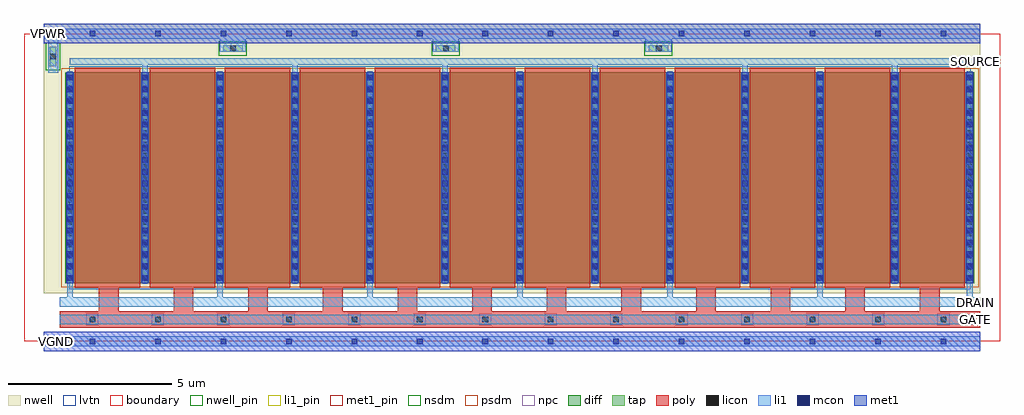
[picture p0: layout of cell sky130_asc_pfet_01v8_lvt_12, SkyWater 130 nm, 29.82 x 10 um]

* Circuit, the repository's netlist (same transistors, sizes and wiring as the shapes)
* NGSPICE file created from sky130_asc_pfet_01v8_lvt_12.ext - technology: sky130A

.subckt sky130_asc_pfet_01v8_lvt_12 GATE SOURCE DRAIN VGND VPWR
X0 SOURCE GATE DRAIN VPWR sky130_fd_pr__pfet_01v8_lvt ad=1.1223e+13p pd=8.088e+07u as=1.30935e+13p ps=9.436e+07u w=6.45e+06u l=2e+06u
X1 SOURCE GATE DRAIN VPWR sky130_fd_pr__pfet_01v8_lvt ad=0p pd=0u as=0p ps=0u w=6.45e+06u l=2e+06u
X2 DRAIN GATE SOURCE VPWR sky130_fd_pr__pfet_01v8_lvt ad=0p pd=0u as=0p ps=0u w=6.45e+06u l=2e+06u
X3 DRAIN GATE SOURCE VPWR sky130_fd_pr__pfet_01v8_lvt ad=0p pd=0u as=0p ps=0u w=6.45e+06u l=2e+06u
X4 SOURCE GATE DRAIN VPWR sky130_fd_pr__pfet_01v8_lvt ad=0p pd=0u as=0p ps=0u w=6.45e+06u l=2e+06u
X5 DRAIN GATE SOURCE VPWR sky130_fd_pr__pfet_01v8_lvt ad=0p pd=0u as=0p ps=0u w=6.45e+06u l=2e+06u
X6 DRAIN GATE SOURCE VPWR sky130_fd_pr__pfet_01v8_lvt ad=0p pd=0u as=0p ps=0u w=6.45e+06u l=2e+06u
X7 SOURCE GATE DRAIN VPWR sky130_fd_pr__pfet_01v8_lvt ad=0p pd=0u as=0p ps=0u w=6.45e+06u l=2e+06u
X8 SOURCE GATE DRAIN VPWR sky130_fd_pr__pfet_01v8_lvt ad=0p pd=0u as=0p ps=0u w=6.45e+06u l=2e+06u
X9 DRAIN GATE SOURCE VPWR sky130_fd_pr__pfet_01v8_lvt ad=0p pd=0u as=0p ps=0u w=6.45e+06u l=2e+06u
X10 DRAIN GATE SOURCE VPWR sky130_fd_pr__pfet_01v8_lvt ad=0p pd=0u as=0p ps=0u w=6.45e+06u l=2e+06u
X11 SOURCE GATE DRAIN VPWR sky130_fd_pr__pfet_01v8_lvt ad=0p pd=0u as=0p ps=0u w=6.45e+06u l=2e+06u
.ends

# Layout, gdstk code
import gdstk
lib = gdstk.Library(unit=1e-6, precision=1e-09)
def R(c, l, rs):  # rectangles x0, y0, x1, y1
    for r in rs: c.add(gdstk.rectangle(r[:2], r[2:], *l))
def A(c, l, x, y, w, h, nx, ny, dx, dy):  # array of equal rectangles
    R(c, l, [(x+i*dx, y+j*dy, x+i*dx+w, y+j*dy+h) for i in range(nx) for j in range(ny)])
nwell_pin = (64, 16)
nwell = (64, 20)
diff = (65, 20)
tap = (65, 44)
poly = (66, 20)
licon = (66, 44)
li1_pin = (67, 16)
li1 = (67, 20)
mcon = (67, 44)
met1_pin = (68, 16)
met1 = (68, 20)
nsdm = (93, 44)
psdm = (94, 20)
npc = (95, 20)
lvtn = (125, 44)
boundary = (235, 4)

sky130_asc_pfet_01v8_lvt = lib.new_cell('sky130_asc_pfet_01v8_lvt_12')
R(sky130_asc_pfet_01v8_lvt, nwell_pin, [(0.6,9.25,0.9,9.55)])
R(sky130_asc_pfet_01v8_lvt, nwell, [(1.085,1.465,29.215,1.47), (0.6,1.47,29.215,8.535), (0.6,8.535,29.21,9.7)])
R(sky130_asc_pfet_01v8_lvt, diff, [(1.265,1.775,29.035,8.225)])
A(sky130_asc_pfet_01v8_lvt, tap, 6.08, 8.85, 0.6, 0.2, 3, 1, 6.5, 0)
R(sky130_asc_pfet_01v8_lvt, tap, [(0.79,8.4,0.99,9)])
A(sky130_asc_pfet_01v8_lvt, poly, 2.29, 0.92, 0.6, 0.725, 12, 1, 2.28, 0)
A(sky130_asc_pfet_01v8_lvt, poly, 1.555, 1.645, 2, 6.71, 12, 1, 2.29, 0)
R(sky130_asc_pfet_01v8_lvt, poly, [(1.09,0.42,29.21,0.92)])
A(sky130_asc_pfet_01v8_lvt, licon, 2.005, 0.585, 0.17, 0.17, 14, 1, 2, 0)
A(sky130_asc_pfet_01v8_lvt, licon, 1.325, 1.855, 0.17, 0.17, 13, 19, 2.29, 0.34)
A(sky130_asc_pfet_01v8_lvt, licon, 6.305, 8.865, 0.17, 0.17, 3, 1, 6.5, 0)
R(sky130_asc_pfet_01v8_lvt, licon, [(0.805,8.615,0.975,8.785)])
R(sky130_asc_pfet_01v8_lvt, li1_pin, [(28.91,0.52,29.21,0.82), (28.91,1.05,29.21,1.35), (28.91,8.45,29.21,8.65)])
A(sky130_asc_pfet_01v8_lvt, li1, 1.325, 1.35, 0.17, 6.895, 7, 1, 4.58, 0)
A(sky130_asc_pfet_01v8_lvt, li1, 3.615, 1.755, 0.17, 6.695, 6, 1, 4.58, 0)
A(sky130_asc_pfet_01v8_lvt, li1, 5.98, 8.85, 0.8, 0.4, 3, 1, 6.5, 0)
R(sky130_asc_pfet_01v8_lvt, li1, [(0.6,-0.15,29.21,0.15), (1.09,0.52,29.21,0.82), (1.09,1.05,29.21,1.35), (0.74,8.2,1.04,9.25), (1.39,8.45,29.21,8.65), (0.6,9.25,29.21,9.55)])
A(sky130_asc_pfet_01v8_lvt, mcon, 2.005, -0.085, 0.17, 0.17, 14, 2, 2, 9.4)
A(sky130_asc_pfet_01v8_lvt, mcon, 1.325, 1.855, 0.17, 0.17, 13, 18, 2.29, 0.36)
R(sky130_asc_pfet_01v8_lvt, met1_pin, [(0.6,-0.15,1.39,0.15)])
A(sky130_asc_pfet_01v8_lvt, met1, 1.295, 1.775, 0.23, 6.45, 13, 1, 2.29, 0)
R(sky130_asc_pfet_01v8_lvt, met1, [(0.6,-0.3,29.21,0.3), (0.6,9.1,29.21,9.7)])
A(sky130_asc_pfet_01v8_lvt, nsdm, 5.955, 8.725, 0.85, 0.45, 3, 1, 6.5, 0)
R(sky130_asc_pfet_01v8_lvt, nsdm, [(0.665,8.275,1.115,9.125)])
R(sky130_asc_pfet_01v8_lvt, psdm, [(1.14,1.65,29.16,8.35)])
A(sky130_asc_pfet_01v8_lvt, npc, 1.905, 0.485, 0.37, 0.37, 14, 1, 2, 0)
R(sky130_asc_pfet_01v8_lvt, lvtn, [(1.375,1.595,28.925,8.405)])
R(sky130_asc_pfet_01v8_lvt, boundary, [(0,0,29.815,9.4)])
sky130_asc_pfet_01v8_lvt.add(gdstk.Label('GATE', (29.06,0.67), layer=67, texttype=16))
sky130_asc_pfet_01v8_lvt.add(gdstk.Label('SOURCE', (29.06,8.55), layer=67, texttype=16))
sky130_asc_pfet_01v8_lvt.add(gdstk.Label('DRAIN', (29.06,1.2), layer=67, texttype=16))
sky130_asc_pfet_01v8_lvt.add(gdstk.Label('VPWR', (0.75,9.4), layer=64, texttype=16))
sky130_asc_pfet_01v8_lvt.add(gdstk.Label('VGND', (0.995,0), layer=68, texttype=16))

lib.write_gds('sky130_asc_pfet_01v8_lvt_12.gds')
